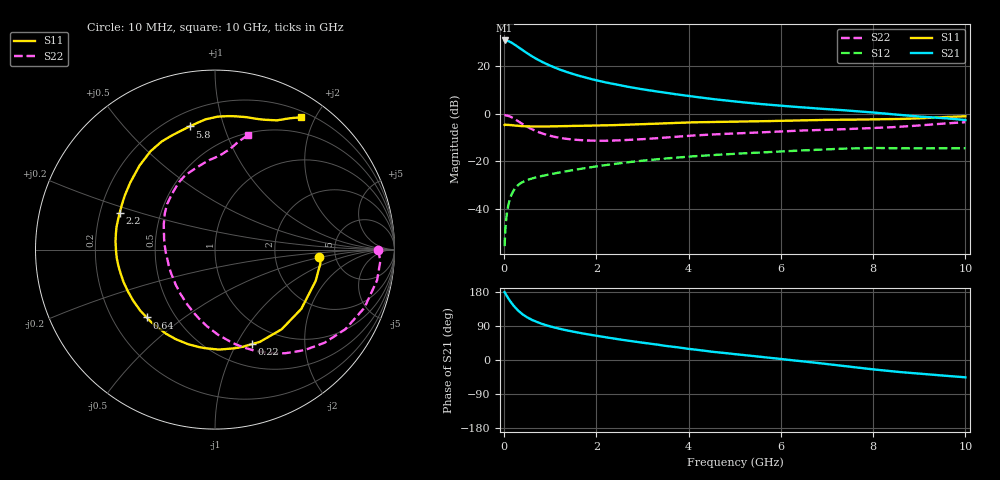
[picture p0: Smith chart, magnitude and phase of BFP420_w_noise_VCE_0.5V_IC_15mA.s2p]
! Infineon Technologies  Discrete & RF Semiconductors
! BFP420
! VCE =  0.5 V,  IC =  15 mA
! Common Emitter S-Parameters:  Jan 2016
# GHz  S  MA  R  50
!  f  S11  S21  S12  S22
! GHz  MAG  ANG  MAG  ANG  MAG  ANG  MAG  ANG
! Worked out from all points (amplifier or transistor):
!   233 points, 10 MHz to 10 GHz, reference 50 ohm
!   highest |S21| = 30.6 dB at 10 MHz (marker M1)
!   |S21| within 3 dB of that: start of sweep to 323.1 MHz
!   unconditionally stable (mu >= 1): 1.86 GHz to end of sweep
!   at 200 MHz: K = 0.21, MSG = 30.8 dB, |S12| = -32.3 dB
!   at 1.74 GHz: K = 0.97, MSG = 19.0 dB, |S12| = -22.8 dB
!   at 10 GHz: K = 1.05, MAG = 4.6 dB, |S12| = -14.4 dB
!   lowest NFmin = 1.06 dB at 900 MHz
!   S11 on the Smith chart (normalised r, x): 10 MHz: 3.71, -0.43; 220 MHz: 0.75, -1.16; 640 MHz: 0.35, -0.37; 2.2 GHz: 0.28, +0.17; 5.8 GHz: 0.29, +0.77; 10 GHz: 0.28, +1.81
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0.01  0.5803 -3.8  33.81 179.2  0.0017 111.6  0.9091 0.0
0.02  0.5925 -7.2  33.6 176.5  0.003 88.9  0.9234 -4.0
0.05  0.5873 -17.3  33.45 170.4  0.007 83.0  0.919 -10.7
0.1  0.5834 -34.5  32.58 160.8  0.0135 76.2  0.8934 -21.3
0.15  0.5788 -50.1  30.87 151.9  0.0194 69.9  0.8511 -31.4
0.2  0.5716 -64.0  28.93 144.0  0.0243 64.4  0.8009 -40.4
0.22  0.5653 -68.9  28.03 141.3  0.026 62.4  0.7784 -43.5
0.3  0.5576 -87.7  24.83 130.7  0.0319 56.0  0.6968 -56.0
0.4  0.5478 -105.9  21.23 120.5  0.0371 50.5  0.6058 -68.5
0.5  0.5424 -120.2  18.23 112.5  0.041 46.9  0.5316 -79.0
0.64  0.5363 -135.2  15.05 103.9  0.0452 44.0  0.4547 -91.1
0.8  0.5375 -148.2  12.35 96.1  0.0493 42.3  0.3933 -103.3
1  0.5407 -160.4  10.04 88.5  0.0541 41.4  0.3439 -116.4
1.3  0.5487 -173.9  7.741 79.7  0.0613 40.8  0.3018 -132.9
1.68  0.5575 173.3  5.967 70.7  0.0708 39.9  0.2788 -150.4
2.2  0.569 159.2  4.496 59.9  0.0842 37.7  0.2714 -169.9
3.4  0.6225 133.8  2.813 39.2  0.1132 29.1  0.3118 156.1
5.1  0.6815 109.6  1.754 14.2  0.1465 14.7  0.3881 128.7
5.8  0.7007 101.6  1.519 5.3  0.1586 9.0  0.4163 120.4
6.8  0.7347 91.0  1.28 -7.9  0.1762 -0.3  0.4535 108.1
8.4  0.7665 71.5  0.974 -29.7  0.1897 -17.9  0.5197 88.2
10  0.8801 56.9  0.736 -45.7  0.1897 -29.3  0.6618 74.0
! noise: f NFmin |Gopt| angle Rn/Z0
0.9  1.06  0.09  -152  0.13
1.8  1.36  0.18  -147  0.12
2.4  1.49  0.17  -148  0.14
3  1.53  0.25  -138  0.14
4  1.67  0.38  -119  0.2
5  2.14  0.44  -103  0.32
6  2.48  0.5  -88  0.47
